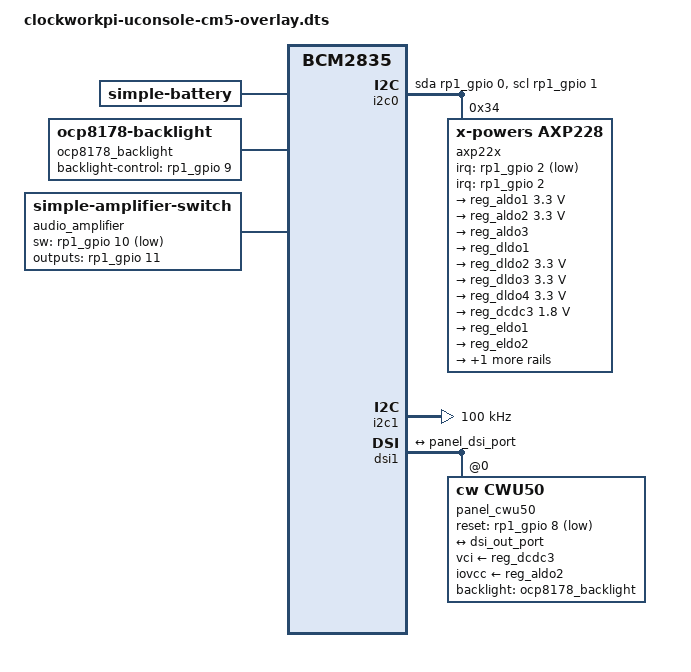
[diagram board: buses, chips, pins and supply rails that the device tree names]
/dts-v1/;
/plugin/;

#include <dt-bindings/gpio/gpio.h>
#include <dt-bindings/clock/rp1.h>

/* ClockworkPi uConsole overlay for Raspberry Pi CM5 (BCM2712 + RP1)
 * - AXP22x PMIC on i2c-gpio (RP1 GPIO0/1)
 * - Simple-battery node with config overrides (capacity/nominal voltage)
 * - Backlight OCP8178 on RP1 GPIO9
 * - CWU50 panel on DSI1 (with assigned clocks)
 * - Audio amplifier switch (jack detect + HP enable) on RP1 GPIO10/11
 *
 * Notes:
 * - Keep this overlay Pi5-only (RP1 labels). Your CM4 overlay stays separate.
 * - Do NOT load dtoverlay=dwc2 on Pi5.
 */

 /{
	compatible = "brcm,bcm2835";

	/* ===== PMIC: AXP22x via bit-banged I2C on RP1 GPIO0/1 ===== */
	fragment@0 {
		target = <&i2c0>;
		__overlay__ {
			#address-cells = <1>;
			#size-cells = <0>;

			/* Use i2c-gpio so we can place SCL/SDA on RP1 GPIO 0/1 */
			compatible = "i2c-gpio";
			reg = <3>;
			pinctrl-0 = <&i2c0_pins>;
			pinctrl-names = "default";

			/* SCL = RP1 GPIO0, SDA = RP1 GPIO1, both open-drain/high-active */
			gpios = <&rp1_gpio 0 (GPIO_ACTIVE_HIGH | GPIO_OPEN_DRAIN)
				 &rp1_gpio 1 (GPIO_ACTIVE_HIGH | GPIO_OPEN_DRAIN)>;

			i2c-gpio,delay-us = <2>;
			status = "okay";

			axp22x: pmic@34 {
				interrupt-controller;
				#interrupt-cells = <1>;
				compatible = "x-powers,axp228", "x-powers,axp223", "x-powers,axp221";
				reg = <0x34>;

				/* PMIC IRQ on RP1 GPIO2, falling-edge */
				interrupt-parent = <&rp1_gpio>;
				interrupts = <2 8>;
				irq-gpios = <&rp1_gpio 2 GPIO_ACTIVE_LOW>;

				regulators {
					x-powers,dcdc-freq = <3000>;

					reg_aldo1: aldo1 {
						regulator-always-on;
						regulator-min-microvolt = <3300000>;
						regulator-max-microvolt = <3300000>;
						regulator-name = "audio-vdd";
					};

					reg_aldo2: aldo2 {
						regulator-always-on;
						regulator-min-microvolt = <3300000>;
						regulator-max-microvolt = <3300000>;
						regulator-name = "disp-vcc";
					};

					reg_aldo3: aldo3 {
						regulator-boot-off;
						regulator-name = "wifi-vdd";
					};

					reg_dldo1: dldo1 {
						regulator-boot-off;
						regulator-name = "wifi-vbat-1";
					};

					reg_dldo2: dldo2 {
						regulator-always-on;
						regulator-min-microvolt = <3300000>;
						regulator-max-microvolt = <3300000>;
						regulator-name = "ext-3v3-1";
					};

					reg_dldo3: dldo3 {
						regulator-always-on;
						regulator-min-microvolt = <3300000>;
						regulator-max-microvolt = <3300000>;
						regulator-name = "ext-3v3-2";
					};

					reg_dldo4: dldo4 {
						regulator-always-on;
						regulator-min-microvolt = <3300000>;
						regulator-max-microvolt = <3300000>;
						regulator-name = "ext-3v3-3";
					};

					reg_dcdc3: dcdc3 {
						regulator-always-on;
						regulator-min-microvolt = <1800000>;
						regulator-max-microvolt = <1800000>;
						regulator-name = "sys-1v8";
					};

					reg_eldo1: eldo1 {
						regulator-boot-off;
						regulator-name = "wifi-vbat-2";
					};

					reg_eldo2: eldo2 {
						regulator-boot-off;
						regulator-name = "wifi-vbat-3";
					};

					reg_eldo3: eldo3 {
						regulator-boot-off;
						regulator-name = "wifi-vbat-4";
					};
				};

				battery_power_supply: battery-power-supply {
					compatible = "x-powers,axp221-battery-power-supply";
					monitored-battery = <&battery>;
				};

				ac_power_supply: ac_power_supply {
					compatible = "x-powers,axp221-ac-power-supply";
				};

				usb_power_supply: usb-power {
					compatible = "x-powers,axp223-usb-power-supply";
					status = "disabled";
				};

				axp_adc: adc {
					compatible = "x-powers,axp221-adc";
					#io-channel-cells = <1>;
				};

				axp_gpio: gpio {
					compatible = "x-powers,axp221-gpio";
					#gpio-cells = <2>;
					gpio-controller;
					status = "disabled";
					gpio0_out: gpio0-out-pin {
						pins = "GPIO0";
						function = "gpio_out";
					};
				};
			};
		};
	};

	/* ===== Simple battery node + user-tunable overrides ===== */
	fragment@1 {
		target-path = "/";
		__overlay__  {
			battery: battery@0 {
				compatible = "simple-battery";
				device-chemistry = "lithium-ion";

				/* Charging profile (adjust to your pack) */
				constant-charge-current-max-microamp = <2100000>;
				voltage-max-design-microvolt = <4200000>;
				re-charge-voltage-microvolt = <4000000>;
				voltage-min-design-microvolt = <2900000>;

				/* Design capacities (2x3350mAh fallback) */
				charge-full-design-microamp-hours = <6700000>;
				nominal-microvolt = <3700000>;
			};
		};
	};

	/* Allow tuning from config.txt without rebuilding the dtbo */
	__overrides__ {
		batt_uah = <&battery>,"charge-full-design-microamp-hours:0";
		vnom_uv  = <&battery>,"nominal-microvolt:0";
	};

	/* ===== Enable RP1 I2C1 (used by board stuff if needed) ===== */
	fragment@2 {
		target = <&i2c1>;
		__overlay__ {
			status = "okay";
			pinctrl-0 = <&rp1_i2c1_2_3>;
			clock-frequency = <100000>;
		};
	};

	/* ===== Backlight OCP8178 on RP1 GPIO9 ===== */
	fragment@3 {
		target-path = "/";
		__overlay__ {
			ocp8178_backlight: backlight@0 {
				compatible = "ocp8178-backlight";
				backlight-control-gpios = <&rp1_gpio 9 GPIO_ACTIVE_HIGH>;
				default-brightness = <5>;
			};
		};
	};

	/* ===== Panel CWU50 on DSI1 (with assigned clocks) ===== */
	fragment@4 {
		/* dsi1 has iommu property on Pi5 */
		target = <&dsi1>;
		__overlay__ {
			#address-cells = <1>;
			#size-cells = <0>;
			status = "okay";

			/* These rates work with the CWU50 panel; adjust if needed */
			assigned-clocks = <&rp1_clocks RP1_CLK_MIPI1_DSI_BYTECLOCK>, <&rp1_clocks RP1_CLK_MIPI1_DPI>;
			assigned-clock-rates = <45833333>, <61111240>;

			port {
				dsi_out_port: endpoint {
					remote-endpoint = <&panel_dsi_port>;
				};
			};

			panel_cwu50: panel@0 {
				compatible = "cw,cwu50";
				reg = <0>;

				/* Panel reset on RP1 GPIO8, active-low */
				reset-gpios = <&rp1_gpio 8 GPIO_ACTIVE_LOW>;

				backlight = <&ocp8178_backlight>;
				rotation = <90>;

				/* Power rails */
				vci-supply  = <&reg_dcdc3>;
				iovcc-supply = <&reg_aldo2>;

				status = "okay";

				port {
					panel_dsi_port: endpoint {
						remote-endpoint = <&dsi_out_port>;
					};
				};
			};
		};
	};

	/* ===== Audio amplifier switch (jack detect + HP enable) =====
	 * - GPIO10 = jack detect, active-low
	 * - GPIO11 = HP enable, active-high
	 */
	fragment@5 {
		target-path = "/";
		__overlay__ {
			audio_amplifier: audio-amplifier {
				compatible = "simple-amplifier-switch";
				pinctrl-names = "default";

				/* Input: low when jack is inserted */
				sw-gpios = <&rp1_gpio 10 GPIO_ACTIVE_LOW>;

				/* Output: drive high to enable HP amplifier */
				outputs-gpios = <&rp1_gpio 11 GPIO_ACTIVE_HIGH>;
			};
		};
	};

	/* ===== Disable builtin Ethernet alias (not present on uConsole) ===== */
	fragment@6 {
		target-path = "ethernet0";
		__overlay__ {
			status = "disabled";
		};
	};
};
